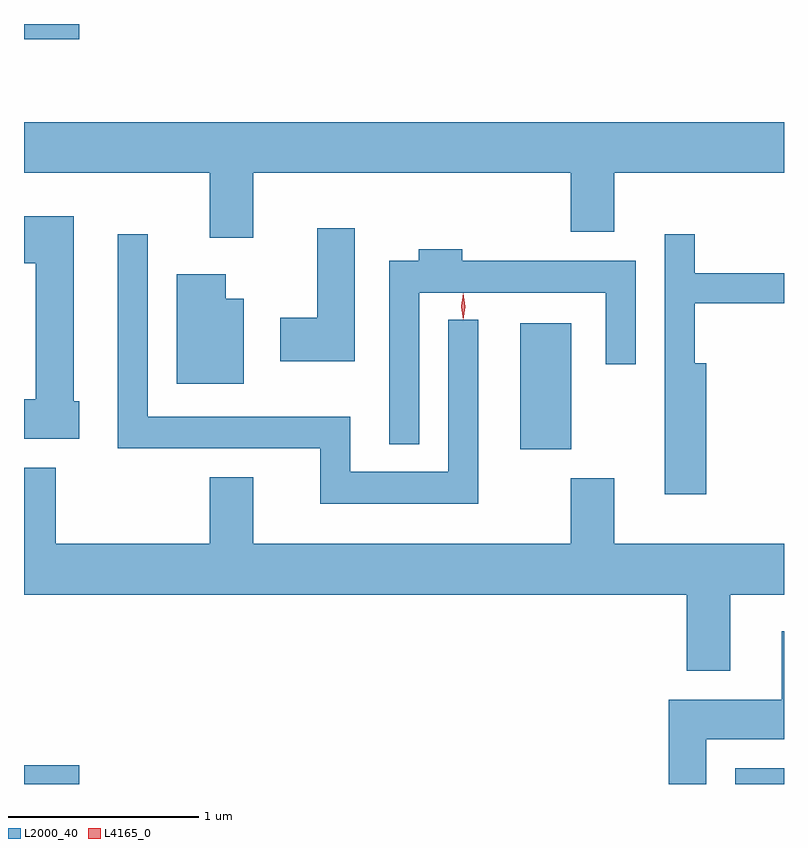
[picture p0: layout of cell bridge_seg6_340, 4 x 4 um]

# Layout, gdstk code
import gdstk
lib = gdstk.Library(unit=1e-6, precision=1e-09)
def R(c, l, rs):  # rectangles x0, y0, x1, y1
    for r in rs: c.add(gdstk.rectangle(r[:2], r[2:], *l))
def P(c, l, *ps):  # polygons
    for p in ps: c.add(gdstk.Polygon(p, *l))
L2000_40 = (2000, 40)
L4165_0 = (4165, 0)

bridge_seg6_340 = lib.new_cell('bridge_seg6_340')
R(bridge_seg6_340, L2000_40, [(1296.373,1531.28,1296.664,1531.379), (1300.116,1531.28,1300.373,1531.364), (1298.986,1533.041,1299.254,1533.704), (1296.373,1535.201,1296.664,1535.28)])
P(bridge_seg6_340, L2000_40, [(1297.579,1534.496),(1299.251,1534.496),(1299.251,1534.186),(1299.479,1534.186),(1299.479,1534.496),(1300.373,1534.496),(1300.373,1534.764),(1296.373,1534.764),(1296.373,1534.496),(1297.351,1534.496),(1297.351,1534.156),(1297.579,1534.156)],
  [(1296.664,1533.294),(1296.634,1533.294),(1296.634,1534.269),(1296.373,1534.269),(1296.373,1534.021),(1296.436,1534.021),(1296.436,1533.304),(1296.373,1533.304),(1296.373,1533.096),(1296.664,1533.096)],
  [(1298.114,1534.204),(1297.916,1534.204),(1297.916,1533.734),(1297.721,1533.734),(1297.721,1533.506),(1298.114,1533.506)],
  [(1299.964,1533.494),(1299.904,1533.494),(1299.904,1533.811),(1300.373,1533.811),(1300.373,1533.969),(1299.904,1533.969),(1299.904,1534.173),(1299.746,1534.173),(1299.746,1532.806),(1299.964,1532.806)],
  [(1298.764,1533.723),(1298.606,1533.723),(1298.606,1532.924),(1298.089,1532.924),(1298.089,1533.214),(1297.024,1533.214),(1297.024,1534.173),(1296.866,1534.173),(1296.866,1533.046),(1297.931,1533.046),(1297.931,1532.756),(1298.764,1532.756)],
  [(1298.454,1533.866),(1299.436,1533.866),(1299.436,1533.488),(1299.594,1533.488),(1299.594,1534.034),(1298.679,1534.034),(1298.679,1534.094),(1298.451,1534.094),(1298.451,1534.034),(1298.296,1534.034),(1298.296,1533.068),(1298.454,1533.068)],
  [(1297.529,1533.834),(1297.434,1533.834),(1297.434,1533.964),(1297.176,1533.964),(1297.176,1533.386),(1297.529,1533.386)],
  [(1300.089,1532.276),(1300.373,1532.276),(1300.373,1532.544),(1299.479,1532.544),(1299.479,1532.889),(1299.251,1532.889),(1299.251,1532.544),(1297.579,1532.544),(1297.579,1532.894),(1297.351,1532.894),(1297.351,1532.544),(1296.539,1532.544),(1296.539,1532.944),(1296.373,1532.944),(1296.373,1532.276),(1299.861,1532.276),(1299.861,1531.876),(1300.089,1531.876)],
  [(1299.964,1531.516),(1300.373,1531.516),(1300.373,1532.084),(1300.361,1532.084),(1300.361,1531.724),(1299.766,1531.724),(1299.766,1531.28),(1299.964,1531.28)])
P(bridge_seg6_340, L4165_0, [(1298.684,1533.724),(1298.675,1533.793),(1298.684,1533.863),(1298.685,1533.863),(1298.685,1533.863),(1298.695,1533.793),(1298.685,1533.724),(1298.685,1533.724)],
  [(1298.684,1533.727),(1298.684,1533.727),(1298.674,1533.794),(1298.684,1533.86),(1298.684,1533.861),(1298.685,1533.86),(1298.694,1533.794),(1298.685,1533.727)])

lib.write_gds('bridge_seg6_340.gds')
